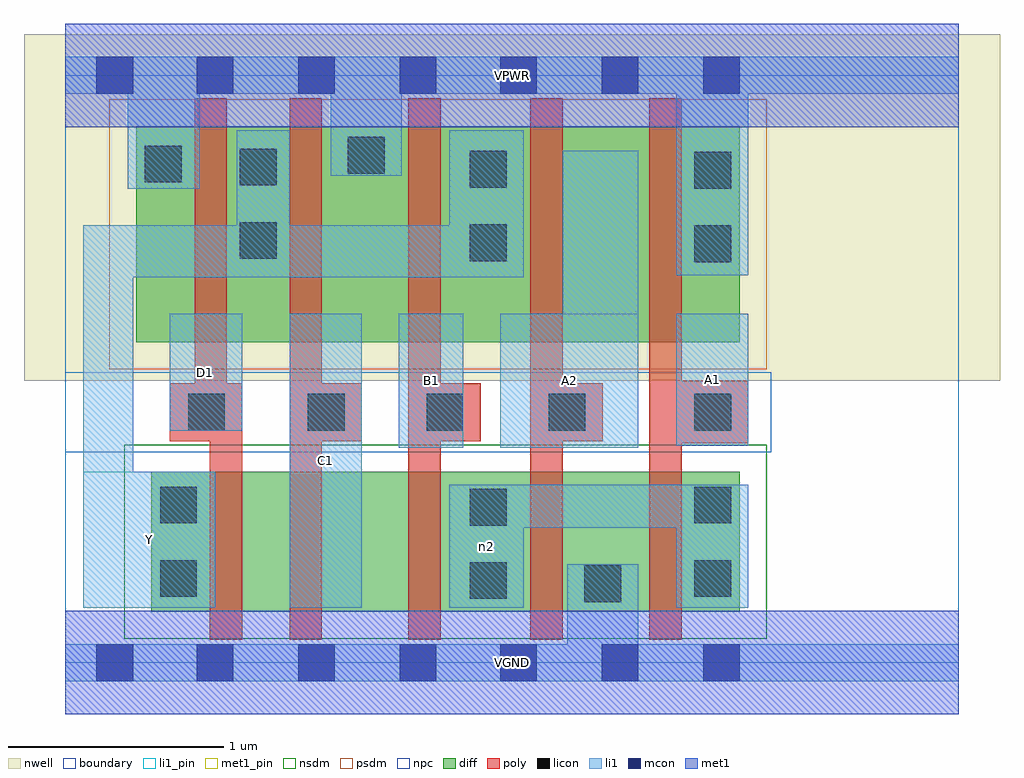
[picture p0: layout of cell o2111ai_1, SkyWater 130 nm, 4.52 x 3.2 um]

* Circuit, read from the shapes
.subckt o2111ai_1 A1 A2 B1 C1 D1 VGND VPWR Y n2
XM1 n1 D1 Y VSUBS sky130_fd_pr__nfet_01v8 w=0.65 l=0.15
XM2 n3 C1 n1 VSUBS sky130_fd_pr__nfet_01v8 w=0.65 l=0.15
XM3 n2 B1 n3 VSUBS sky130_fd_pr__nfet_01v8 w=0.65 l=0.15
XM4 VGND A2 n2 VSUBS sky130_fd_pr__nfet_01v8 w=0.65 l=0.15
XM5 n2 A1 VGND VSUBS sky130_fd_pr__nfet_01v8 w=0.65 l=0.15
XM6 Y D1 VPWR n4 sky130_fd_pr__pfet_01v8 w=1 l=0.15
XM7 VPWR C1 Y n4 sky130_fd_pr__pfet_01v8 w=1 l=0.15
XM8 Y B1 VPWR n4 sky130_fd_pr__pfet_01v8 w=1 l=0.15
XM9 n5 A2 Y n4 sky130_fd_pr__pfet_01v8 w=1 l=0.15
XM10 VPWR A1 n5 n4 sky130_fd_pr__pfet_01v8 w=1 l=0.15
.ends

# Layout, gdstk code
import gdstk
lib = gdstk.Library(unit=1e-6, precision=1e-09)
def R(c, l, rs):  # rectangles x0, y0, x1, y1
    for r in rs: c.add(gdstk.rectangle(r[:2], r[2:], *l))
def A(c, l, x, y, w, h, nx, ny, dx, dy):  # array of equal rectangles
    R(c, l, [(x+i*dx, y+j*dy, x+i*dx+w, y+j*dy+h) for i in range(nx) for j in range(ny)])
nwell = (64, 20)
diff = (65, 20)
poly = (66, 20)
licon = (66, 44)
li1_pin = (67, 16)
li1 = (67, 20)
mcon = (67, 44)
met1_pin = (68, 16)
met1 = (68, 20)
nsdm = (93, 44)
psdm = (94, 20)
npc = (95, 20)
boundary = (235, 4)

o2111ai_1 = lib.new_cell('o2111ai_1')
R(o2111ai_1, nwell, [(-0.19,1.305,4.33,2.91), (0,1.305,4.14,2.91)])
R(o2111ai_1, diff, [(0.4,0.235,3.125,0.885), (0.33,1.485,3.125,2.485)])
R(o2111ai_1, poly, [(0.67,0.105,0.75,2.615), (0.67,0.105,0.82,1.295), (1.04,0.105,1.19,2.615), (1.59,0.105,1.74,2.615), (2.155,0.105,2.305,2.615), (2.705,0.105,2.855,2.615), (2.705,1.015,3.165,1.305), (0.485,1.025,0.82,1.295), (0.6,1.025,0.67,2.615), (1.04,1.025,1.375,1.295), (1.59,1.025,1.925,1.295), (2.155,1.025,2.49,1.295)])
R(o2111ai_1, licon, [(2.405,0.28,2.575,0.45), (1.875,0.295,2.045,0.465), (0.44,0.305,0.61,0.475), (2.915,0.305,3.085,0.475), (1.875,0.635,2.045,0.805), (0.44,0.645,0.61,0.815), (2.915,0.645,3.085,0.815), (0.57,1.075,0.74,1.245), (1.125,1.075,1.295,1.245), (1.675,1.075,1.845,1.245), (2.24,1.075,2.41,1.245), (2.915,1.075,3.085,1.245), (2.915,1.855,3.085,2.025), (1.875,1.86,2.045,2.03), (0.81,1.87,0.98,2.04), (2.915,2.195,3.085,2.365), (1.875,2.2,2.045,2.37), (0.81,2.21,0.98,2.38), (0.37,2.225,0.54,2.395), (1.31,2.265,1.48,2.435)])
R(o2111ai_1, li1_pin, [(0.085,0.255,0.695,0.885), (1.04,0.255,1.375,1.615), (1.545,0.995,1.845,1.615), (2.015,0.995,2.655,1.615), (2.83,1.005,3.165,1.615), (0.485,1.075,0.82,1.615)])
R(o2111ai_1, li1, [(0,-0.085,4.14,0.085), (2.325,-0.085,2.655,0.455), (0.085,0.255,0.695,0.885), (0.085,0.255,0.315,2.025), (1.04,0.255,1.375,1.615), (1.78,0.255,2.125,0.825), (2.83,0.255,3.165,0.825), (1.78,0.625,3.165,0.825), (1.545,0.995,1.845,1.615), (2.015,0.995,2.655,1.615), (2.305,0.995,2.655,2.37), (2.83,1.005,3.165,1.615), (0.485,1.075,0.82,1.615), (0.085,1.785,2.125,2.025), (0.795,1.785,1.04,2.465), (1.78,1.785,2.125,2.465), (2.83,1.795,3.165,2.805), (0.29,2.195,0.625,2.805), (1.23,2.255,1.56,2.805), (0,2.635,4.14,2.805)])
A(o2111ai_1, mcon, 0.61, -0.085, 0.17, 0.17, 3, 2, 0.47, 2.72)
A(o2111ai_1, mcon, 2.015, -0.085, 0.17, 0.17, 3, 2, 0.47, 2.72)
R(o2111ai_1, mcon, [(0.145,-0.085,0.315,0.085), (0.145,2.635,0.315,2.805)])
R(o2111ai_1, met1_pin, [(0,-0.24,4.14,0.24), (0,2.48,4.14,2.96)])
R(o2111ai_1, met1, [(0,-0.24,4.14,0.24), (0,2.48,4.14,2.96)])
R(o2111ai_1, nsdm, [(0.275,0.11,3.25,1.01)])
R(o2111ai_1, psdm, [(0.205,1.36,3.25,2.61)])
R(o2111ai_1, npc, [(0,0.975,3.27,1.345)])
R(o2111ai_1, boundary, [(0,0,4.14,2.72)])
o2111ai_1.add(gdstk.Label('A1', (2.997,1.31), layer=67, texttype=5))
o2111ai_1.add(gdstk.Label('A2', (2.335,1.305), layer=67, texttype=5))
o2111ai_1.add(gdstk.Label('B1', (1.695,1.305), layer=67, texttype=5))
o2111ai_1.add(gdstk.Label('C1', (1.207,0.935), layer=67, texttype=5))
o2111ai_1.add(gdstk.Label('D1', (0.652,1.345), layer=67, texttype=5))
o2111ai_1.add(gdstk.Label('Y', (0.39,0.57), layer=67, texttype=5))
o2111ai_1.add(gdstk.Label('n2', (1.952,0.54), layer=67, texttype=5))
o2111ai_1.add(gdstk.Label('VPWR', (2.07,2.72), layer=68, texttype=5))
o2111ai_1.add(gdstk.Label('VGND', (2.07,0), layer=68, texttype=5))
o2111ai_1.add(gdstk.Label('A1', (2.997,1.31), layer=67, texttype=16))
o2111ai_1.add(gdstk.Label('A2', (2.335,1.305), layer=67, texttype=16))
o2111ai_1.add(gdstk.Label('B1', (1.695,1.305), layer=67, texttype=16))
o2111ai_1.add(gdstk.Label('C1', (1.207,0.935), layer=67, texttype=16))
o2111ai_1.add(gdstk.Label('D1', (0.652,1.345), layer=67, texttype=16))
o2111ai_1.add(gdstk.Label('Y', (0.39,0.57), layer=67, texttype=16))
o2111ai_1.add(gdstk.Label('VPWR', (2.07,2.72), layer=68, texttype=16))
o2111ai_1.add(gdstk.Label('VGND', (2.07,0), layer=68, texttype=16))

lib.write_gds('o2111ai_1.gds')
